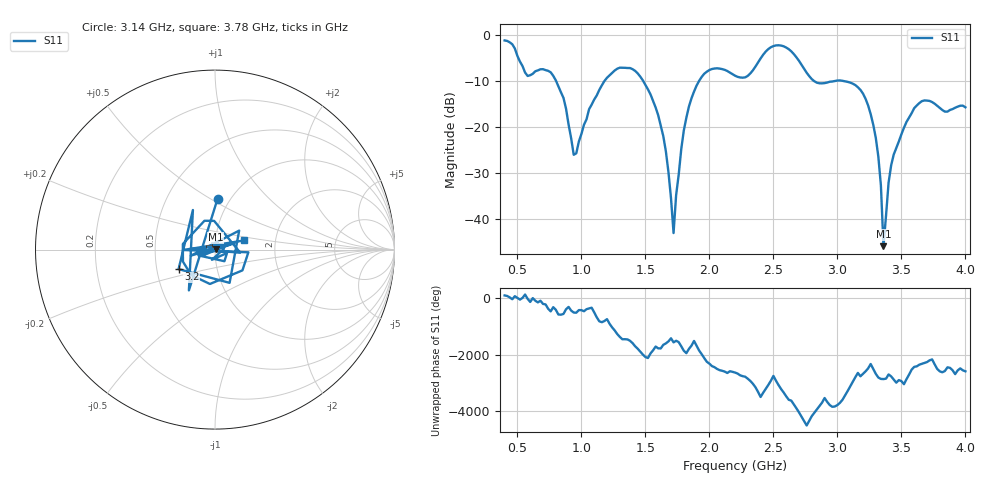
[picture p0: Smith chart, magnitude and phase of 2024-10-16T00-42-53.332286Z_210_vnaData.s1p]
! Created with skrf (http://scikit-rf.org).
# Hz S RI R 50.0
!freq ReS11 ImS11
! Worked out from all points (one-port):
!   181 points, 400 MHz to 4 GHz, reference 50 ohm
!   lowest |S11| = -45.8 dB at 3.36 GHz (marker M1), VSWR 1.01, Z = 50.5 + j0.184 ohm
!   |S11| at or under -10 dB: 801.9 MHz to 1.181 GHz (378.7 MHz wide, 38.2 % of centre); 1.482 GHz to 1.919 GHz (437 MHz wide, 25.7 % of centre); 3.044 GHz to end of sweep (the widest 3 of 4)
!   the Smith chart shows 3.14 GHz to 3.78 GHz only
!   S11 on the Smith chart (normalised r, x): 3.14 GHz: 0.87, +0.54; 3.2 GHz: 0.65, -0.15; 3.78 GHz: 1.38, +0.14
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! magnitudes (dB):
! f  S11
! 400 MHz  -1.2
! 580 MHz  -8.9
! 760 MHz  -8.1
! 860 MHz  -13.7
! 940 MHz  -26.0
! 1.06 GHz  -16.1
! 1.3 GHz  -7.1
! 1.44 GHz  -8.4
! 1.6 GHz  -17.4
! 1.66 GHz  -25.3
! 1.72 GHz  -43.0
! 1.76 GHz  -30.4
! 1.82 GHz  -18.0
! 1.92 GHz  -10.0
! 2.2 GHz  -8.9
! 2.5 GHz  -2.4
! 2.66 GHz  -4.2
! 2.84 GHz  -10.4
! 3.1 GHz  -10.4
! 3.14 GHz  -10.9
! 3.2 GHz  -12.8
! 3.32 GHz  -26.5
! 3.34 GHz  -32.7
! 3.36 GHz  -45.8
! 3.42 GHz  -28.3
! 3.56 GHz  -17.9
! 3.78 GHz  -15.4
! 4 GHz  -15.7
